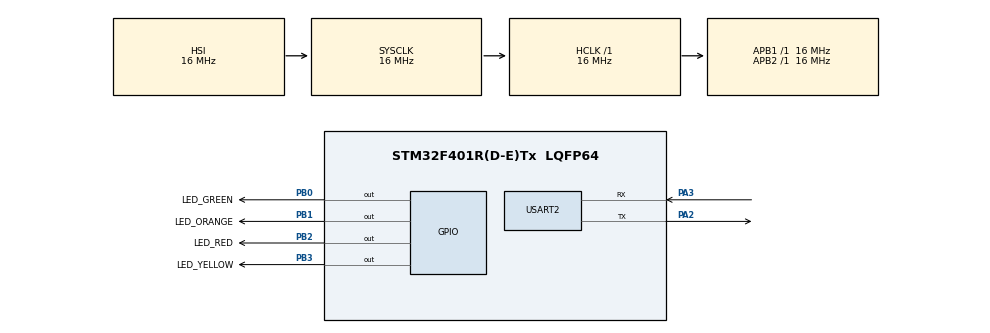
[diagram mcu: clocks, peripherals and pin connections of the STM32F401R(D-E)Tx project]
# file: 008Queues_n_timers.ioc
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FREERTOS.Tasks01=defaultTask,24,128,StartDefaultTask,Default,NULL,Dynamic,NULL,NULL
Mcu.Family=STM32F4
Mcu.Name=STM32F401R(D-E)Tx
Mcu.Package=LQFP64
NVIC.PriorityGroup=NVIC_PRIORITYGROUP_4
NVIC.TIM5_IRQn=true\:15\:0\:false\:false\:true\:false\:false\:true\:true
NVIC.TimeBase=TIM5_IRQn
NVIC.TimeBaseIP=TIM5
NVIC.USART2_IRQn=true\:5\:0\:false\:false\:true\:true\:true\:true\:true
PA13.Mode=Serial_Wire
PA13.Signal=SYS_JTMS-SWDIO
PA14.Mode=Serial_Wire
PA14.Signal=SYS_JTCK-SWCLK
PA2.Mode=Asynchronous
PA2.Signal=USART2_TX
PA3.Mode=Asynchronous
PA3.Signal=USART2_RX
PB0.GPIO_Label=LED_GREEN
PB0.Signal=GPIO_Output
PB1.GPIO_Label=LED_ORANGE
PB1.Signal=GPIO_Output
PB2.GPIO_Label=LED_RED
PB2.Signal=GPIO_Output
PB3.GPIO_Label=LED_YELLOW
PB3.Signal=GPIO_Output
PH0\ -\ OSC_IN.Mode=HSE-External-Clock-Source
PH0\ -\ OSC_IN.Signal=RCC_OSC_IN
PH1\ -\ OSC_OUT.Mode=HSE-External-Clock-Source
PH1\ -\ OSC_OUT.Signal=RCC_OSC_OUT
ProjectManager.HeapSize=0x200
ProjectManager.StackSize=0x400
ProjectManager.TargetToolchain=STM32CubeIDE
RCC.AHBFreq_Value=16000000
RCC.APB1Freq_Value=16000000
RCC.APB2Freq_Value=16000000
RCC.CortexFreq_Value=16000000
RCC.HSE_VALUE=25000000
RCC.HSI_VALUE=16000000
RCC.LSE_VALUE=32768
RCC.SYSCLKFreq_VALUE=16000000
RCC.VCOOutputFreq_Value=192000000
USART2.VirtualMode=VM_ASYNC
VP_FREERTOS_VS_CMSIS_V2.Mode=CMSIS_V2
VP_RTC_VS_RTC_Activate.Mode=RTC_Enabled
VP_SYS_VS_tim5.Mode=TIM5
board=custom

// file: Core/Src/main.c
/* USER CODE BEGIN Header */
/**
  ******************************************************************************
  * @file           : main.c
  * @brief          : Main program body
  ******************************************************************************
  */
/* USER CODE END Header */

#include "main.h"

/* USER CODE BEGIN Includes */
#include "FreeRTOS.h"
#include "task.h"
#include "queue.h"
#include "semphr.h"
#include "timers.h"

#include "task_handler.h"

#include <string.h>
#include <stdio.h>
#include <stdlib.h>
/* USER CODE END Includes */

RTC_HandleTypeDef hrtc;
UART_HandleTypeDef huart2;

/* USER CODE BEGIN PV */
TaskHandle_t handle_cmd_task;
TaskHandle_t handle_menu_task;
TaskHandle_t handle_print_task;
TaskHandle_t handle_led_task;
TaskHandle_t handle_rtc_task;

BaseType_t status;

QueueHandle_t q_data;
QueueHandle_t q_print;

// Software timer handles
TimerHandle_t handle_led_timer[4];

volatile uint8_t user_data;

// State variable
state_t curr_state = sMainMenu;
/* USER CODE END PV */

void SystemClock_Config(void);
static void MX_GPIO_Init(void);
static void MX_RTC_Init(void);
static void MX_USART2_UART_Init(void);

/* USER CODE BEGIN PFP */
void menu_task(void *parameters);
void cmd_handler_task(void *parameters);
void print_task(void *parameters);
void led_task(void *parameters);
void rtc_task(void *parameters);

void led_effect_callback(TimerHandle_t xTimer);
/* USER CODE END PFP */

int main(void)
{
  /* MCU Configuration--------------------------------------------------------*/
  HAL_Init();

  /* Configure the system clock */
  SystemClock_Config();

  /* Initialize all configured peripherals */
  MX_GPIO_Init();
  MX_RTC_Init();
  MX_USART2_UART_Init();

  /* USER CODE BEGIN 2 */

  // Hardware LED Blink Test on Boot
  HAL_GPIO_WritePin(GPIOB, LED_GREEN_Pin|LED_ORANGE_Pin|LED_RED_Pin|LED_YELLOW_Pin, GPIO_PIN_SET);
  HAL_Delay(500);
  HAL_GPIO_WritePin(GPIOB, LED_GREEN_Pin|LED_ORANGE_Pin|LED_RED_Pin|LED_YELLOW_Pin, GPIO_PIN_RESET);

  // Stack sizes set to 500 words to prevent HardFault / Stack Overflow
  status = xTaskCreate(menu_task, "menu_task", 500, NULL, 2, &handle_menu_task);
  configASSERT(status == pdPASS);

  status = xTaskCreate(cmd_handler_task, "cmd_task", 500, NULL, 2, &handle_cmd_task);
  configASSERT(status == pdPASS);

  status = xTaskCreate(print_task, "print_task", 500, NULL, 2, &handle_print_task);
  configASSERT(status == pdPASS);

  status = xTaskCreate(led_task, "led_task", 500, NULL, 2, &handle_led_task);
  configASSERT(status == pdPASS);

  status = xTaskCreate(rtc_task, "rtc_task", 500, NULL, 2, &handle_rtc_task);
  configASSERT(status == pdPASS);

  // Queue to store incoming char data from UART Interrupt
  q_data = xQueueCreate(10, sizeof(char));
  configASSERT(q_data != NULL);

  // Queue stores char pointers (char*), which are 4 bytes each
  q_print = xQueueCreate(10, sizeof(size_t));
  configASSERT(q_print != NULL);

  // Create software timers for LED effects
  for(int i = 0; i < 4; i++)
  {
      handle_led_timer[i] = xTimerCreate(
          "LED_TIMER",
          pdMS_TO_TICKS(500),
          pdTRUE,
          (void *)(uintptr_t)(i + 1),
          led_effect_callback
      );

      configASSERT(handle_led_timer[i] != NULL);
  }

  // Start UART reception in Interrupt mode
  HAL_UART_Receive_IT(&huart2, (uint8_t *)&user_data, 1);

  char test[] = "UART TEST\r\n";

  HAL_UART_Transmit(&huart2,
                    (uint8_t *)test,
                    strlen(test),
                    HAL_MAX_DELAY);

  // Start Native FreeRTOS Scheduler
  vTaskStartScheduler();
  /* USER CODE END 2 */

  /* Infinite loop */
  while (1)
  {
  }
}

void SystemClock_Config(void)
{
  RCC_OscInitTypeDef RCC_OscInitStruct = {0};
  RCC_ClkInitTypeDef RCC_ClkInitStruct = {0};

  __HAL_RCC_PWR_CLK_ENABLE();
  __HAL_PWR_VOLTAGESCALING_CONFIG(PWR_REGULATOR_VOLTAGE_SCALE2);

  RCC_OscInitStruct.OscillatorType = RCC_OSCILLATORTYPE_HSI|RCC_OSCILLATORTYPE_LSI;
  RCC_OscInitStruct.HSIState = RCC_HSI_ON;
  RCC_OscInitStruct.HSICalibrationValue = RCC_HSICALIBRATION_DEFAULT;
  RCC_OscInitStruct.LSIState = RCC_LSI_ON;
  RCC_OscInitStruct.PLL.PLLState = RCC_PLL_NONE;
  if (HAL_RCC_OscConfig(&RCC_OscInitStruct) != HAL_OK)
  {
    Error_Handler();
  }

  RCC_ClkInitStruct.ClockType = RCC_CLOCKTYPE_HCLK|RCC_CLOCKTYPE_SYSCLK
                              |RCC_CLOCKTYPE_PCLK1|RCC_CLOCKTYPE_PCLK2;
  RCC_ClkInitStruct.SYSCLKSource = RCC_SYSCLKSOURCE_HSI;
  RCC_ClkInitStruct.AHBCLKDivider = RCC_SYSCLK_DIV1;
  RCC_ClkInitStruct.APB1CLKDivider = RCC_HCLK_DIV1;
  RCC_ClkInitStruct.APB2CLKDivider = RCC_HCLK_DIV1;

  if (HAL_RCC_ClockConfig(&RCC_ClkInitStruct, FLASH_LATENCY_0) != HAL_OK)
  {
    Error_Handler();
  }
}

static void MX_RTC_Init(void)
{
  hrtc.Instance = RTC;
  hrtc.Init.HourFormat = RTC_HOURFORMAT_24;
  hrtc.Init.AsynchPrediv = 127;
  hrtc.Init.SynchPrediv = 255;
  hrtc.Init.OutPut = RTC_OUTPUT_DISABLE;
  hrtc.Init.OutPutPolarity = RTC_OUTPUT_POLARITY_HIGH;
  hrtc.Init.OutPutType = RTC_OUTPUT_TYPE_OPENDRAIN;
  if (HAL_RTC_Init(&hrtc) != HAL_OK)
  {
    Error_Handler();
  }
}

static void MX_USART2_UART_Init(void)
{
  huart2.Instance = USART2;
  huart2.Init.BaudRate = 115200;
  huart2.Init.WordLength = UART_WORDLENGTH_8B;
  huart2.Init.StopBits = UART_STOPBITS_1;
  huart2.Init.Parity = UART_PARITY_NONE;
  huart2.Init.Mode = UART_MODE_TX_RX;
  huart2.Init.HwFlowCtl = UART_HWCONTROL_NONE;
  huart2.Init.OverSampling = UART_OVERSAMPLING_16;
  if (HAL_UART_Init(&huart2) != HAL_OK)
  {
    Error_Handler();
  }
}

static void MX_GPIO_Init(void)
{
  GPIO_InitTypeDef GPIO_InitStruct = {0};

  __HAL_RCC_GPIOH_CLK_ENABLE();
  __HAL_RCC_GPIOA_CLK_ENABLE();
  __HAL_RCC_GPIOB_CLK_ENABLE();

  HAL_GPIO_WritePin(GPIOB, LED_GREEN_Pin|LED_ORANGE_Pin|LED_RED_Pin|LED_YELLOW_Pin, GPIO_PIN_RESET);

  GPIO_InitStruct.Pin = LED_GREEN_Pin|LED_ORANGE_Pin|LED_RED_Pin|LED_YELLOW_Pin;
  GPIO_InitStruct.Mode = GPIO_MODE_OUTPUT_PP;
  GPIO_InitStruct.Pull = GPIO_NOPULL;
  GPIO_InitStruct.Speed = GPIO_SPEED_FREQ_LOW;
  HAL_GPIO_Init(GPIOB, &GPIO_InitStruct);
}

/* USER CODE BEGIN 4 */

/* Function executes from UART interrupt handler */
void HAL_UART_RxCpltCallback(UART_HandleTypeDef *huart)
{
    uint8_t dummy;
    BaseType_t xHigherPriorityTaskWoken = pdFALSE;

    if(!xQueueIsQueueFullFromISR(q_data))
    {
        /* Enqueue data byte */
        xQueueSendFromISR(q_data, (void *)&user_data, &xHigherPriorityTaskWoken);
    }
    else
    {
        if(user_data == '\n')
        {
            /* Make sure that last data byte of the queue is '\n' */
            xQueueReceiveFromISR(q_data, (void *)&dummy, &xHigherPriorityTaskWoken);
            xQueueSendFromISR(q_data, (void *)&user_data, &xHigherPriorityTaskWoken);
        }
    }

    /* Send notification to command handling task if user_data == '\n' */
    if(user_data == '\n')
    {
        xTaskNotifyFromISR(handle_cmd_task, 0, eNoAction, &xHigherPriorityTaskWoken);
    }

    /* Re-enable UART RX in IT mode */
    HAL_UART_Receive_IT(&huart2, (uint8_t *)&user_data, 1);

    /* Context switch if a higher priority task was woken */
    portYIELD_FROM_ISR(xHigherPriorityTaskWoken);
}

/* USER CODE END 4 */

void HAL_TIM_PeriodElapsedCallback(TIM_HandleTypeDef *htim)
{
  if (htim->Instance == TIM5)
  {
    HAL_IncTick();
  }
}

void Error_Handler(void)
{
  __disable_irq();
  while (1)
  {
  }
}
